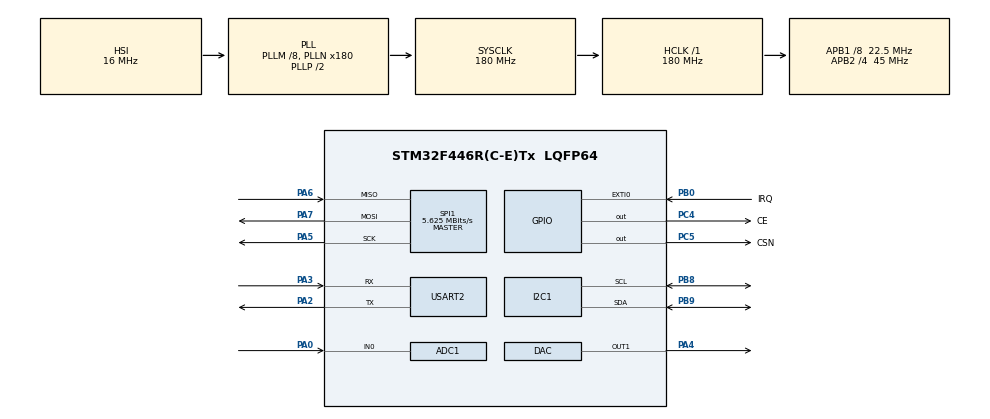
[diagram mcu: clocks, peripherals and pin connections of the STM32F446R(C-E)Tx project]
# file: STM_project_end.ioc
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ADC1.Channel-0\#ChannelRegularConversion=ADC_CHANNEL_0
ADC1.NbrOfConversionFlag=1
ADC1.Rank-0\#ChannelRegularConversion=1
ADC1.SamplingTime-0\#ChannelRegularConversion=ADC_SAMPLETIME_3CYCLES
ADC1.master=1
Mcu.Family=STM32F4
Mcu.Name=STM32F446R(C-E)Tx
Mcu.Package=LQFP64
NVIC.EXTI0_IRQn=true\:6\:0\:true\:false\:true\:true\:true
NVIC.PriorityGroup=NVIC_PRIORITYGROUP_4
NVIC.TIM2_IRQn=true\:7\:0\:true\:false\:true\:true\:true
NVIC.USART2_IRQn=true\:8\:0\:true\:false\:true\:true\:true
PA0-WKUP.Signal=ADCx_IN0
PA2.Mode=Asynchronous
PA2.Signal=USART2_TX
PA3.Mode=Asynchronous
PA3.Signal=USART2_RX
PA4.Signal=COMP_DAC1_group
PA5.Mode=Full_Duplex_Master
PA5.Signal=SPI1_SCK
PA6.Mode=Full_Duplex_Master
PA6.Signal=SPI1_MISO
PA7.Mode=Full_Duplex_Master
PA7.Signal=SPI1_MOSI
PB0.GPIO_Label=IRQ
PB0.GPIO_ModeDefaultEXTI=GPIO_MODE_IT_FALLING
PB0.GPIO_PuPd=GPIO_PULLUP
PB0.Signal=GPXTI0
PB8.Mode=I2C
PB8.Signal=I2C1_SCL
PB9.Mode=I2C
PB9.Signal=I2C1_SDA
PC4.GPIO_Label=CE
PC4.Signal=GPIO_Output
PC5.GPIO_Label=CSN
PC5.Signal=GPIO_Output
ProjectManager.HeapSize=0x200
ProjectManager.StackSize=0x400
ProjectManager.TargetToolchain=STM32CubeIDE
RCC.AHBFreq_Value=180000000
RCC.APB1CLKDivider=RCC_HCLK_DIV8
RCC.APB1Freq_Value=22500000
RCC.APB1TimFreq_Value=45000000
RCC.APB2CLKDivider=RCC_HCLK_DIV4
RCC.APB2Freq_Value=45000000
RCC.APB2TimFreq_Value=90000000
RCC.CortexFreq_Value=180000000
RCC.HCLKFreq_Value=180000000
RCC.PLLM=8
RCC.PLLN=180
RCC.SYSCLKFreq_VALUE=180000000
RCC.SYSCLKSource=RCC_SYSCLKSOURCE_PLLCLK
RCC.USBFreq_Value=180000000
RCC.VCOOutputFreq_Value=360000000
RTC.AsynchPrediv=127
RTC.Format=RTC_FORMAT_BIN
RTC.SynchPrediv=320
SH.ADCx_IN0.0=ADC1_IN0,IN0
SH.COMP_DAC1_group.0=DAC_OUT1,DAC_OUT1
SPI1.BaudRatePrescaler=SPI_BAUDRATEPRESCALER_8
SPI1.CalculateBaudRate=5.625 MBits/s
SPI1.Direction=SPI_DIRECTION_2LINES
SPI1.Mode=SPI_MODE_MASTER
SPI1.VirtualType=VM_MASTER
TIM2.CounterMode=TIM_COUNTERMODE_DOWN
TIM2.Period=1000000
TIM2.Prescaler=45
USART2.VirtualMode=VM_ASYNC
VP_RTC_VS_RTC_Activate.Mode=RTC_Enabled
VP_RTC_VS_RTC_Calendar.Mode=RTC_Calendar
VP_TIM2_VS_ClockSourceINT.Mode=Internal
board=custom

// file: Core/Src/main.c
/* USER CODE BEGIN Header */
/**
  ******************************************************************************
  * @file           : main.c
  * @brief          : Main program body
  ******************************************************************************
  * @attention
  *
  * <h2><center>&copy; Copyright (c) 2020 STMicroelectronics.
  * All rights reserved.</center></h2>
  *
  * This software component is licensed by ST under BSD 3-Clause license,
  * the "License"; You may not use this file except in compliance with the
  * License. You may obtain a copy of the License at:
  *                        opensource.org/licenses/BSD-3-Clause
  *
  ******************************************************************************
  */
/* USER CODE END Header */
#include "main.h"

/* USER CODE BEGIN Includes */
#include <string.h>
#include <stdio.h>
#include <stdlib.h>
#include "stm32f446xx.h"
#include "NRF24L01.h"
/* USER CODE END Includes */

ADC_HandleTypeDef hadc1;

DAC_HandleTypeDef hdac;

I2C_HandleTypeDef hi2c1;

RTC_HandleTypeDef hrtc;

SPI_HandleTypeDef hspi1;

TIM_HandleTypeDef htim2;

UART_HandleTypeDef huart2;

/* USER CODE BEGIN PV */
extern volatile uint32_t NRF24_IRQ;

uint8_t uart_receve[64] = {0};
uint8_t uart_transmit[64] = {0};
uint8_t uart_flag = 0;

uint8_t timer_flag = 0;
uint32_t timer_counter = 0;
uint32_t seconds = 0;
uint32_t average = 0;
float humi_sum = 0;
float temp_sum = 0;
float adc_sum = 0;
float humi = 0;
float temp = 0;
float adc = 0;
float temperature = 0;
float humidity = 0;

uint8_t com_flag = 0;

uint8_t step_flag = 0;
uint8_t nrf_receive_flag = 0;

uint8_t buf_nrf_transmit[27] = {0};
uint8_t buf_nrf_receive[27] = {0};

RTC_TimeTypeDef rtc_time;
RTC_DateTypeDef rtc_date;

/* USER CODE END PV */

void SystemClock_Config(void);
static void MX_GPIO_Init(void);
static void MX_ADC1_Init(void);
static void MX_DAC_Init(void);
static void MX_I2C1_Init(void);
static void MX_RTC_Init(void);
static void MX_SPI1_Init(void);
static void MX_TIM2_Init(void);
static void MX_USART2_UART_Init(void);
/* USER CODE BEGIN PFP */
static void read_temp_humi();
static float read_adc();
static void rtc_set(
        uint8_t year, uint8_t month, uint8_t day, uint8_t week_day,
        uint8_t hour, uint8_t min, uint8_t sec
        );

void init_timer(uint32_t sec, uint32_t aver);
static void step_timer();

static void prepare_transmission_data();
/* USER CODE END PFP */

int main(void)
{

  /* MCU Configuration--------------------------------------------------------*/

  /* Reset of all peripherals, Initializes the Flash interface and the Systick. */
  HAL_Init();

  /* Configure the system clock */
  SystemClock_Config();

  /* Initialize all configured peripherals */
  MX_GPIO_Init();
  MX_ADC1_Init();
  MX_DAC_Init();
  MX_I2C1_Init();
  MX_RTC_Init();
  MX_SPI1_Init();
  MX_TIM2_Init();
  MX_USART2_UART_Init();
  /* USER CODE BEGIN 2 */
  USART2->CR1 |= USART_CR1_TE | USART_CR1_RE | USART_CR1_RXNEIE;
  NVIC_EnableIRQ (USART2_IRQn);
  NRF24_init();
  /* USER CODE END 2 */

  /* Infinite loop */
  /* USER CODE BEGIN WHILE */

  init_timer(3, 10);
  rtc_set(20, 12, 1, 1, 12, 0, 0);
  NRF24_Receive_base();

  while (1)
  {

	  if (uart_flag)
	  {
		  char array[10] = {0};
		  uint8_t temp_buf[64];
		  uint32_t array_index = 0;
		  uint32_t num_array_index = 0;
		  uart_flag = 0;

		  memcpy(temp_buf, uart_receve, 64);

		  if (temp_buf[0] == 'u')
		  {
			  com_flag = 1;
		  }
		  else if (temp_buf[0] == 'n')
		  {
			  com_flag = 0;
		  }
		  else if (temp_buf[0] == 'a')
		  {
			  buf_nrf_transmit[0] = temp_buf[0];

			  for (uint32_t i = 1; temp_buf[i] != '\0'; i++)
			  {
				  if (temp_buf[i] != ':')
				  {
					  array[array_index] = temp_buf[i];
					  array_index++;
				  }
				  else
				  {
					  array[array_index] = '\0';
					  *((uint32_t*)(buf_nrf_transmit + 1)) = atoi(array);
					  array_index = 0;
				  }
			  }

			  array[array_index] = '\0';
			  *((uint32_t*)(buf_nrf_transmit + 5)) = atoi(array);

			  init_timer(*((uint32_t*)(buf_nrf_transmit + 1)), *((uint32_t*)(buf_nrf_transmit + 5)));
		  }
		  else
		  {
			  for (uint32_t i = 0; temp_buf[i] != '\0'; i++)
			  {
				  if (temp_buf[i] != ':')
				  {
					  array[array_index] = temp_buf[i];
					  array_index++;
				  }
				  else
				  {
					  array[array_index] = '\0';
					  buf_nrf_transmit[num_array_index] = atoi(array);
					  num_array_index++;
					  array_index = 0;
				  }
			  }

			  array[array_index] = '\0';
			  buf_nrf_transmit[num_array_index] = atoi(array);

			  rtc_set(buf_nrf_transmit[0], buf_nrf_transmit[1], buf_nrf_transmit[2], buf_nrf_transmit[3],
					  buf_nrf_transmit[4], buf_nrf_transmit[5], buf_nrf_transmit[6]);
		  }

	  }

	  if (timer_flag)
	  {
		  timer_flag = 0;
		  step_timer();
	  }

	  if (step_flag)
	  {
		  step_flag = 0;

		  prepare_transmission_data();

		  if (com_flag)
		  {
			  sprintf((char*)uart_transmit, ";%f:%f:%f:%d:%d:%d:%d:%d:%d:%d:%lu:%lu;", *((float*)buf_nrf_transmit), *((float*)(buf_nrf_transmit + 4)),
			  				  *((float*)(buf_nrf_transmit + 8)), buf_nrf_transmit[12], buf_nrf_transmit[13], buf_nrf_transmit[14],
							  buf_nrf_transmit[15], buf_nrf_transmit[16], buf_nrf_transmit[17], buf_nrf_transmit[18],
							  *((uint32_t*)(buf_nrf_transmit + 19)), *((uint32_t*)(buf_nrf_transmit + 23)));
			  		  HAL_UART_Transmit(&huart2, uart_transmit, strlen((char*)uart_transmit), 100);
		  }
		  else
		  {
			  NRF24_Transmit_base(buf_nrf_transmit, 27);
		  }
	  }

	  if (NRF24_IRQ)
	  {
		  uint8_t r_rx_payload = (uint8_t)R_RX_PAYLOAD;
		  uint8_t temp_status = NRF24_ReadReg((uint8_t)STATUS);

		  NRF24_IRQ = 0;

		  if (temp_status & (1UL << RX_DR))
		  {
			  NRF24_WriteReg(STATUS, NRF24_ReadReg((uint8_t)STATUS) | 0x70); // clear interupt
			  NRF24_Read_Buf(r_rx_payload, buf_nrf_receive, 27);
			  NRF24_Receive_base();

			  nrf_receive_flag = 1;
		  }
		  else if (temp_status & (1UL << TX_DS))
		  {
			  NRF24_WriteReg(STATUS, NRF24_ReadReg((uint8_t)STATUS) | 0x70); // clear interupt
			  NRF24_Receive_base();
		  }
		  else if (temp_status & (1UL << MAX_RT))
		  {
			  NRF24_WriteReg(STATUS, NRF24_ReadReg((uint8_t)STATUS) | 0x70); // clear interupt
			  NRF24_Receive_base();
		  }
	  }

	  if (nrf_receive_flag)
	  {
		  nrf_receive_flag = 0;

		  if (buf_nrf_receive[0] == 'a')
		  {
			  init_timer(*((uint32_t*)(buf_nrf_receive + 1)), *((uint32_t*)(buf_nrf_receive + 5)));
		  }
		  else if (buf_nrf_receive[0] == 'u')
		  {
			  com_flag = 1;
		  }
		  else if (buf_nrf_receive[0] == 'n')
		  {
			  com_flag = 0;
		  }
		  else
		  {
			  rtc_set(buf_nrf_receive[0], buf_nrf_receive[1], buf_nrf_receive[2], buf_nrf_receive[3],
					  buf_nrf_receive[4], buf_nrf_receive[5], buf_nrf_receive[6]);
		  }
	  }

    /* USER CODE END WHILE */

  }
}

void SystemClock_Config(void)
{
  RCC_OscInitTypeDef RCC_OscInitStruct = {0};
  RCC_ClkInitTypeDef RCC_ClkInitStruct = {0};
  RCC_PeriphCLKInitTypeDef PeriphClkInitStruct = {0};

  /** Configure the main internal regulator output voltage
  */
  __HAL_RCC_PWR_CLK_ENABLE();
  __HAL_PWR_VOLTAGESCALING_CONFIG(PWR_REGULATOR_VOLTAGE_SCALE1);
  /** Initializes the RCC Oscillators according to the specified parameters
  * in the RCC_OscInitTypeDef structure.
  */
  RCC_OscInitStruct.OscillatorType = RCC_OSCILLATORTYPE_HSI|RCC_OSCILLATORTYPE_LSI;
  RCC_OscInitStruct.LSEState = RCC_LSE_OFF;
  RCC_OscInitStruct.HSIState = RCC_HSI_ON;
  RCC_OscInitStruct.HSICalibrationValue = RCC_HSICALIBRATION_DEFAULT;
  RCC_OscInitStruct.LSIState = RCC_LSI_ON;
  RCC_OscInitStruct.PLL.PLLState = RCC_PLL_ON;
  RCC_OscInitStruct.PLL.PLLSource = RCC_PLLSOURCE_HSI;
  RCC_OscInitStruct.PLL.PLLM = 8;
  RCC_OscInitStruct.PLL.PLLN = 180;
  RCC_OscInitStruct.PLL.PLLP = RCC_PLLP_DIV2;
  RCC_OscInitStruct.PLL.PLLQ = 2;
  RCC_OscInitStruct.PLL.PLLR = 2;
  if (HAL_RCC_OscConfig(&RCC_OscInitStruct) != HAL_OK)
  {
    Error_Handler();
  }
  /** Activate the Over-Drive mode
  */
  if (HAL_PWREx_EnableOverDrive() != HAL_OK)
  {
    Error_Handler();
  }
  /** Initializes the CPU, AHB and APB buses clocks
  */
  RCC_ClkInitStruct.ClockType = RCC_CLOCKTYPE_HCLK|RCC_CLOCKTYPE_SYSCLK
                              |RCC_CLOCKTYPE_PCLK1|RCC_CLOCKTYPE_PCLK2;
  RCC_ClkInitStruct.SYSCLKSource = RCC_SYSCLKSOURCE_PLLCLK;
  RCC_ClkInitStruct.AHBCLKDivider = RCC_SYSCLK_DIV1;
  RCC_ClkInitStruct.APB1CLKDivider = RCC_HCLK_DIV8;
  RCC_ClkInitStruct.APB2CLKDivider = RCC_HCLK_DIV4;

  if (HAL_RCC_ClockConfig(&RCC_ClkInitStruct, FLASH_LATENCY_5) != HAL_OK)
  {
    Error_Handler();
  }
  PeriphClkInitStruct.PeriphClockSelection = RCC_PERIPHCLK_RTC;
  PeriphClkInitStruct.RTCClockSelection = RCC_RTCCLKSOURCE_LSI;
  if (HAL_RCCEx_PeriphCLKConfig(&PeriphClkInitStruct) != HAL_OK)
  {
    Error_Handler();
  }
}

static void MX_ADC1_Init(void)
{

  ADC_ChannelConfTypeDef sConfig = {0};

  /** Configure the global features of the ADC (Clock, Resolution, Data Alignment and number of conversion)
  */
  hadc1.Instance = ADC1;
  hadc1.Init.ClockPrescaler = ADC_CLOCK_SYNC_PCLK_DIV2;
  hadc1.Init.Resolution = ADC_RESOLUTION_12B;
  hadc1.Init.ScanConvMode = DISABLE;
  hadc1.Init.ContinuousConvMode = DISABLE;
  hadc1.Init.DiscontinuousConvMode = DISABLE;
  hadc1.Init.ExternalTrigConvEdge = ADC_EXTERNALTRIGCONVEDGE_NONE;
  hadc1.Init.ExternalTrigConv = ADC_SOFTWARE_START;
  hadc1.Init.DataAlign = ADC_DATAALIGN_RIGHT;
  hadc1.Init.NbrOfConversion = 1;
  hadc1.Init.DMAContinuousRequests = DISABLE;
  hadc1.Init.EOCSelection = ADC_EOC_SINGLE_CONV;
  if (HAL_ADC_Init(&hadc1) != HAL_OK)
  {
    Error_Handler();
  }
  /** Configure for the selected ADC regular channel its corresponding rank in the sequencer and its sample time.
  */
  sConfig.Channel = ADC_CHANNEL_0;
  sConfig.Rank = 1;
  sConfig.SamplingTime = ADC_SAMPLETIME_3CYCLES;
  if (HAL_ADC_ConfigChannel(&hadc1, &sConfig) != HAL_OK)
  {
    Error_Handler();
  }

}

static void MX_DAC_Init(void)
{

  DAC_ChannelConfTypeDef sConfig = {0};

  /** DAC Initialization
  */
  hdac.Instance = DAC;
  if (HAL_DAC_Init(&hdac) != HAL_OK)
  {
    Error_Handler();
  }
  /** DAC channel OUT1 config
  */
  sConfig.DAC_Trigger = DAC_TRIGGER_NONE;
  sConfig.DAC_OutputBuffer = DAC_OUTPUTBUFFER_ENABLE;
  if (HAL_DAC_ConfigChannel(&hdac, &sConfig, DAC_CHANNEL_1) != HAL_OK)
  {
    Error_Handler();
  }

}

static void MX_I2C1_Init(void)
{

  hi2c1.Instance = I2C1;
  hi2c1.Init.ClockSpeed = 100000;
  hi2c1.Init.DutyCycle = I2C_DUTYCYCLE_2;
  hi2c1.Init.OwnAddress1 = 0;
  hi2c1.Init.AddressingMode = I2C_ADDRESSINGMODE_7BIT;
  hi2c1.Init.DualAddressMode = I2C_DUALADDRESS_DISABLE;
  hi2c1.Init.OwnAddress2 = 0;
  hi2c1.Init.GeneralCallMode = I2C_GENERALCALL_DISABLE;
  hi2c1.Init.NoStretchMode = I2C_NOSTRETCH_DISABLE;
  if (HAL_I2C_Init(&hi2c1) != HAL_OK)
  {
    Error_Handler();
  }

}

static void MX_RTC_Init(void)
{

  /* USER CODE BEGIN RTC_Init 0 */
	__HAL_RCC_RTC_ENABLE();
  /* USER CODE END RTC_Init 0 */

  RTC_TimeTypeDef sTime = {0};
  RTC_DateTypeDef sDate = {0};

  /** Initialize RTC Only
  */
  hrtc.Instance = RTC;
  hrtc.Init.HourFormat = RTC_HOURFORMAT_24;
  hrtc.Init.AsynchPrediv = 127;
  hrtc.Init.SynchPrediv = 255;
  hrtc.Init.OutPut = RTC_OUTPUT_DISABLE;
  hrtc.Init.OutPutPolarity = RTC_OUTPUT_POLARITY_HIGH;
  hrtc.Init.OutPutType = RTC_OUTPUT_TYPE_OPENDRAIN;
  if (HAL_RTC_Init(&hrtc) != HAL_OK)
  {
    Error_Handler();
  }

  /** Initialize RTC and set the Time and Date
  */
  sTime.Hours = 0;
  sTime.Minutes = 0;
  sTime.Seconds = 0;
  sTime.DayLightSaving = RTC_DAYLIGHTSAVING_NONE;
  sTime.StoreOperation = RTC_STOREOPERATION_RESET;
  if (HAL_RTC_SetTime(&hrtc, &sTime, RTC_FORMAT_BIN) != HAL_OK)
  {
    Error_Handler();
  }
  sDate.WeekDay = RTC_WEEKDAY_MONDAY;
  sDate.Month = RTC_MONTH_JANUARY;
  sDate.Date = 1;
  sDate.Year = 0;

  if (HAL_RTC_SetDate(&hrtc, &sDate, RTC_FORMAT_BIN) != HAL_OK)
  {
    Error_Handler();
  }
  /* USER CODE BEGIN RTC_Init 2 */
  __HAL_RCC_RTC_ENABLE();
  /* USER CODE END RTC_Init 2 */

}

static void MX_SPI1_Init(void)
{

  /* SPI1 parameter configuration*/
  hspi1.Instance = SPI1;
  hspi1.Init.Mode = SPI_MODE_MASTER;
  hspi1.Init.Direction = SPI_DIRECTION_2LINES;
  hspi1.Init.DataSize = SPI_DATASIZE_8BIT;
  hspi1.Init.CLKPolarity = SPI_POLARITY_LOW;
  hspi1.Init.CLKPhase = SPI_PHASE_1EDGE;
  hspi1.Init.NSS = SPI_NSS_SOFT;
  hspi1.Init.BaudRatePrescaler = SPI_BAUDRATEPRESCALER_8;
  hspi1.Init.FirstBit = SPI_FIRSTBIT_MSB;
  hspi1.Init.TIMode = SPI_TIMODE_DISABLE;
  hspi1.Init.CRCCalculation = SPI_CRCCALCULATION_DISABLE;
  hspi1.Init.CRCPolynomial = 10;
  if (HAL_SPI_Init(&hspi1) != HAL_OK)
  {
    Error_Handler();
  }

}

static void MX_TIM2_Init(void)
{

  TIM_ClockConfigTypeDef sClockSourceConfig = {0};
  TIM_MasterConfigTypeDef sMasterConfig = {0};

  htim2.Instance = TIM2;
  htim2.Init.Prescaler = 45;
  htim2.Init.CounterMode = TIM_COUNTERMODE_DOWN;
  htim2.Init.Period = 1000;
  htim2.Init.ClockDivision = TIM_CLOCKDIVISION_DIV1;
  htim2.Init.AutoReloadPreload = TIM_AUTORELOAD_PRELOAD_DISABLE;
  if (HAL_TIM_Base_Init(&htim2) != HAL_OK)
  {
    Error_Handler();
  }
  sClockSourceConfig.ClockSource = TIM_CLOCKSOURCE_INTERNAL;
  if (HAL_TIM_ConfigClockSource(&htim2, &sClockSourceConfig) != HAL_OK)
  {
    Error_Handler();
  }
  sMasterConfig.MasterOutputTrigger = TIM_TRGO_RESET;
  sMasterConfig.MasterSlaveMode = TIM_MASTERSLAVEMODE_DISABLE;
  if (HAL_TIMEx_MasterConfigSynchronization(&htim2, &sMasterConfig) != HAL_OK)
  {
    Error_Handler();
  }

}

static void MX_USART2_UART_Init(void)
{

  huart2.Instance = USART2;
  huart2.Init.BaudRate = 115200;
  huart2.Init.WordLength = UART_WORDLENGTH_8B;
  huart2.Init.StopBits = UART_STOPBITS_1;
  huart2.Init.Parity = UART_PARITY_NONE;
  huart2.Init.Mode = UART_MODE_TX_RX;
  huart2.Init.HwFlowCtl = UART_HWCONTROL_NONE;
  huart2.Init.OverSampling = UART_OVERSAMPLING_16;
  if (HAL_UART_Init(&huart2) != HAL_OK)
  {
    Error_Handler();
  }

}

static void MX_GPIO_Init(void)
{
  GPIO_InitTypeDef GPIO_InitStruct = {0};

  /* GPIO Ports Clock Enable */
  __HAL_RCC_GPIOA_CLK_ENABLE();
  __HAL_RCC_GPIOC_CLK_ENABLE();
  __HAL_RCC_GPIOB_CLK_ENABLE();

  /*Configure GPIO pin Output Level */
  HAL_GPIO_WritePin(GPIOC, CE_Pin|CSN_Pin, GPIO_PIN_RESET);

  /*Configure GPIO pins : CE_Pin CSN_Pin */
  GPIO_InitStruct.Pin = CE_Pin|CSN_Pin;
  GPIO_InitStruct.Mode = GPIO_MODE_OUTPUT_PP;
  GPIO_InitStruct.Pull = GPIO_NOPULL;
  GPIO_InitStruct.Speed = GPIO_SPEED_FREQ_LOW;
  HAL_GPIO_Init(GPIOC, &GPIO_InitStruct);

  /*Configure GPIO pin : IRQ_Pin */
  GPIO_InitStruct.Pin = IRQ_Pin;
  GPIO_InitStruct.Mode = GPIO_MODE_IT_FALLING;
  GPIO_InitStruct.Pull = GPIO_PULLUP;
  HAL_GPIO_Init(IRQ_GPIO_Port, &GPIO_InitStruct);

  /* EXTI interrupt init*/
  HAL_NVIC_SetPriority(EXTI0_IRQn, 6, 0);
  HAL_NVIC_EnableIRQ(EXTI0_IRQn);

}

/* USER CODE BEGIN 4 */
void read_temp_humi()
{
	uint8_t buf[4] = {0};

	buf[0] = 0;
    HAL_I2C_Master_Transmit(&hi2c1, 0x50, buf, 1, HAL_MAX_DELAY);
    HAL_I2C_Master_Receive(&hi2c1, 0x50, buf, 4, HAL_MAX_DELAY);

    humidity = (float)(((buf[0] & 0x3F ) << 8) + buf[1]) / 16384.0 * 100.0;
    temperature = (float)((unsigned)(buf[2]  * 64) + (unsigned)(buf[3] >> 2 )) / 16384.0 * 165.0 - 40.0;
}

float read_adc()
{
	static uint8_t i = 0;
	uint32_t temp = 0;
	float ret = 0;
	i++;

	HAL_DAC_SetValue(&hdac, DAC_CHANNEL_1, DAC_ALIGN_12B_R, i*15);
	HAL_DAC_Start(&hdac, DAC_CHANNEL_1);

    HAL_ADC_Start(&hadc1);
    HAL_ADC_PollForConversion(&hadc1, HAL_MAX_DELAY);
    temp = HAL_ADC_GetValue(&hadc1);
    HAL_DAC_Stop(&hdac, DAC_CHANNEL_1);

    ret = (3.3f / 4095) * temp;

    return ret;
}

void rtc_set(
        uint8_t year, uint8_t month, uint8_t day, uint8_t week_day,
        uint8_t hour, uint8_t min, uint8_t sec
        )
{
    RTC_TimeTypeDef time;
    RTC_DateTypeDef date;

    memset(&time, 0, sizeof(time));
    memset(&date, 0, sizeof(date));

    date.WeekDay = week_day;
    date.Year = year;
    date.Month = month;
    date.Date = day;

    HAL_RTC_SetDate(&hrtc, &date, RTC_FORMAT_BIN);

    time.Hours = hour;
    time.Minutes = min;
    time.Seconds = sec;

    HAL_RTC_SetTime(&hrtc, &time, RTC_FORMAT_BIN);
}

void init_timer(uint32_t sec, uint32_t aver)
{
	uint32_t micro_sec = 0;
	average = aver;
	seconds = sec;

	HAL_TIM_Base_Stop_IT(&htim2);
	timer_flag = 0;
	timer_counter = 0;
	humi_sum = 0;
	temp_sum = 0;
	adc_sum = 0;

	micro_sec = (1000000 * seconds) / average;
	TIM2->CNT = micro_sec;
	TIM2->ARR = micro_sec;

	HAL_TIM_Base_Start_IT(&htim2);
}

void step_timer()
{
	read_temp_humi();
	humi_sum += humidity;
	temp_sum += temperature;
	adc_sum += read_adc();

	timer_counter++;

	if (timer_counter == average)
	{
		humi = humi_sum / average;
		temp = temp_sum / average;
		adc = adc_sum / average;

		humi_sum = 0;
		temp_sum = 0;
		adc_sum = 0;
		timer_counter = 0;
		step_flag = 1;
	}
}

void prepare_transmission_data()
{
	HAL_RTC_GetTime(&hrtc, &rtc_time, RTC_FORMAT_BIN);
	HAL_RTC_GetDate(&hrtc, &rtc_date, RTC_FORMAT_BIN);

	*((float*)buf_nrf_transmit) = humi;
	*((float*)(buf_nrf_transmit + 4)) = temp;
	*((float*)(buf_nrf_transmit + 8)) = adc;
	buf_nrf_transmit[12] = rtc_date.Year;
	buf_nrf_transmit[13] = rtc_date.Month;
	buf_nrf_transmit[14] = rtc_date.Date;
	buf_nrf_transmit[15] = rtc_date.WeekDay;
	buf_nrf_transmit[16] = rtc_time.Hours;
	buf_nrf_transmit[17] = rtc_time.Minutes;
	buf_nrf_transmit[18] = rtc_time.Seconds;
	*((uint32_t*)(buf_nrf_transmit + 19)) = seconds;
	*((uint32_t*)(buf_nrf_transmit + 23)) = average;

}

/* USER CODE END 4 */

void Error_Handler(void)
{
  /* USER CODE BEGIN Error_Handler_Debug */
  /* User can add his own implementation to report the HAL error return state */
	while(1)
	{
		HAL_Delay(1000);
	}
  /* USER CODE END Error_Handler_Debug */
}

/************************ (C) COPYRIGHT STMicroelectronics *****END OF FILE****/
